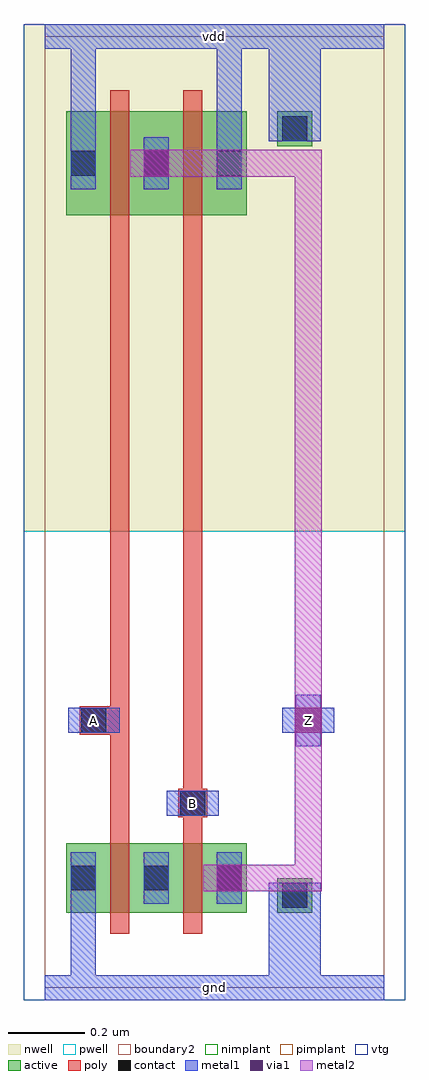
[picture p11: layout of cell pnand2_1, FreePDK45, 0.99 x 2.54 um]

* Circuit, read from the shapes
.subckt pnand2_1 A B Z gnd vdd
M1 nmos_m1_w0_180_a_p_2/D A gnd gnd nfet w=0.18u l=0.05u
M2 Z B nmos_m1_w0_180_a_p_2/D gnd nfet w=0.18u l=0.05u
M3 Z A vdd vdd pfet w=0.27u l=0.05u
M4 vdd B Z vdd pfet w=0.27u l=0.05u
.ends

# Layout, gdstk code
import gdstk
lib = gdstk.Library(unit=1e-6, precision=5e-10)
def R(c, l, rs):  # rectangles x0, y0, x1, y1
    for r in rs: c.add(gdstk.rectangle(r[:2], r[2:], *l))
active = (1, 0)
pwell = (2, 0)
nwell = (3, 0)
nimplant = (4, 0)
pimplant = (5, 0)
vtg = (6, 0)
poly = (9, 0)
contact = (10, 0)
metal1 = (11, 0)
via1 = (12, 0)
metal2 = (13, 0)
boundary2 = (239, 0)

contact_11 = lib.new_cell('contact_11')
R(contact_11, active, [(0,0.0225,0.09,0.1125)])
R(contact_11, nwell, [(-0.055,-0.0325,0.145,0.1675)])
R(contact_11, pimplant, [(0,0.0225,0.09,0.1125)])
R(contact_11, contact, [(0.0125,0.035,0.0775,0.1)])
R(contact_11, metal1, [(0.0125,0,0.0775,0.135)])

pmos_m1_w0_270_a_p = lib.new_cell('pmos_m1_w0_270_a_p')
R(pmos_m1_w0_270_a_p, active, [(0,0,0.28,0.27)])
R(pmos_m1_w0_270_a_p, nwell, [(-0.055,-0.055,0.335,0.325)])
R(pmos_m1_w0_270_a_p, pimplant, [(0,0,0.28,0.27)])
R(pmos_m1_w0_270_a_p, vtg, [(-0.055,-0.055,0.335,0.325)])
R(pmos_m1_w0_270_a_p, poly, [(0.115,-0.055,0.165,0.325), (0.115,-0.055,0.165,0.325)])
R(pmos_m1_w0_270_a_p, metal1, [(0.0125,0.0675,0.0775,0.2025), (0.2025,0.0675,0.2675,0.2025)])
R(pmos_m1_w0_270_a_p, boundary2, [(-0.055,-0.055,0.335,0.325)])
pmos_m1_w0_270_a_p.add(gdstk.Reference(contact_11, (0,0.0675)))
pmos_m1_w0_270_a_p.add(gdstk.Reference(contact_11, (0.19,0.0675)))
pmos_m1_w0_270_a_p.add(gdstk.Label('G', (0.14,0.135), layer=9, texttype=0))
pmos_m1_w0_270_a_p.add(gdstk.Label('S', (0.045,0.135), layer=11, texttype=0))
pmos_m1_w0_270_a_p.add(gdstk.Label('D', (0.235,0.135), layer=11, texttype=0))

contact_16 = lib.new_cell('contact_16')
R(contact_16, active, [(0,0.0225,0.09,0.1125)])
R(contact_16, pwell, [(-0.055,-0.0325,0.145,0.1675)])
R(contact_16, nimplant, [(0,0.0225,0.09,0.1125)])
R(contact_16, contact, [(0.0125,0.035,0.0775,0.1)])
R(contact_16, metal1, [(0.0125,0,0.0775,0.135)])

nmos_m1_w0_180_a_p = lib.new_cell('nmos_m1_w0_180_a_p')
R(nmos_m1_w0_180_a_p, active, [(0,0,0.28,0.18)])
R(nmos_m1_w0_180_a_p, pwell, [(-0.055,-0.055,0.335,0.235)])
R(nmos_m1_w0_180_a_p, nimplant, [(0,0,0.28,0.18)])
R(nmos_m1_w0_180_a_p, vtg, [(-0.055,-0.055,0.335,0.235)])
R(nmos_m1_w0_180_a_p, poly, [(0.115,-0.055,0.165,0.235), (0.115,-0.055,0.165,0.235)])
R(nmos_m1_w0_180_a_p, metal1, [(0.0125,0.0225,0.0775,0.1575), (0.2025,0.0225,0.2675,0.1575)])
R(nmos_m1_w0_180_a_p, boundary2, [(-0.055,-0.055,0.335,0.235)])
nmos_m1_w0_180_a_p.add(gdstk.Reference(contact_16, (0,0.0225)))
nmos_m1_w0_180_a_p.add(gdstk.Reference(contact_16, (0.19,0.0225)))
nmos_m1_w0_180_a_p.add(gdstk.Label('G', (0.14,0.09), layer=9, texttype=0))
nmos_m1_w0_180_a_p.add(gdstk.Label('S', (0.045,0.09), layer=11, texttype=0))
nmos_m1_w0_180_a_p.add(gdstk.Label('D', (0.235,0.09), layer=11, texttype=0))

contact_13 = lib.new_cell('contact_13')
R(contact_13, active, [(0.0225,0,0.1125,0.09)])
R(contact_13, nwell, [(-0.0325,-0.055,0.1675,0.145)])
R(contact_13, nimplant, [(0.0225,0,0.1125,0.09)])
R(contact_13, contact, [(0.035,0.0125,0.1,0.0775)])
R(contact_13, metal1, [(0,0.0125,0.135,0.0775)])

contact_17 = lib.new_cell('contact_17')
R(contact_17, active, [(0.0225,0,0.1125,0.09)])
R(contact_17, pwell, [(-0.0325,-0.055,0.1675,0.145)])
R(contact_17, pimplant, [(0.0225,0,0.1125,0.09)])
R(contact_17, contact, [(0.035,0.0125,0.1,0.0775)])
R(contact_17, metal1, [(0,0.0125,0.135,0.0775)])

contact_12 = lib.new_cell('contact_12')
R(contact_12, poly, [(0.03,0,0.105,0.075)])
R(contact_12, contact, [(0.035,0.005,0.1,0.07)])
R(contact_12, metal1, [(0,0.005,0.135,0.07)])

contact_20 = lib.new_cell('contact_20')
R(contact_20, metal1, [(0.035,0,0.1,0.135)])
R(contact_20, via1, [(0.035,0.035,0.1,0.1)])
R(contact_20, metal2, [(0,0.0325,0.135,0.1025)])

contact_19 = lib.new_cell('contact_19')
R(contact_19, metal1, [(0,0.035,0.135,0.1)])
R(contact_19, via1, [(0.035,0.035,0.1,0.1)])
R(contact_19, metal2, [(0.0325,0,0.1025,0.135)])

pnand2_1 = lib.new_cell('pnand2_1')
R(pnand2_1, pwell, [(-0.055,-0.0325,0.9375,1.1875)])
R(pnand2_1, nwell, [(-0.055,1.1875,0.9375,2.5075)])
R(pnand2_1, vtg, [(-0.055,-0.0325,0.9375,1.1875), (-0.055,1.1875,0.9375,2.5075)])
R(pnand2_1, poly, [(0.17,0.43,0.22,1.955), (0.36,0.43,0.41,1.955), (0.36,0.4425,0.385,0.5175), (0.1275,0.6575,0.17,0.7325)])
R(pnand2_1, metal1, [(0,-0.0325,0.8825,0.0325), (0.0675,-0.0325,0.1325,0.2175), (0.5825,0,0.7175,0.24), (0.3175,0.4475,0.4525,0.5125), (0.6525,0.6275,0.7175,0.7625), (0.06,0.6625,0.195,0.7275), (0.0675,2.0775,0.1325,2.5075), (0.4475,2.0775,0.5125,2.5075), (0.5825,2.235,0.7175,2.475), (0,2.4425,0.8825,2.5075)])
R(pnand2_1, metal2, [(0.48,0.25,0.685,0.32), (0.65,0.25,0.72,0.32), (0.65,0.285,0.72,0.695), (0.65,0.695,0.72,2.145), (0.29,2.11,0.685,2.18), (0.65,2.11,0.72,2.18)])
R(pnand2_1, boundary2, [(0,0,0.8825,2.475)])
pnand2_1.add(gdstk.Reference(pmos_m1_w0_270_a_p, (0.055,2.01)))
pnand2_1.add(gdstk.Reference(pmos_m1_w0_270_a_p, (0.245,2.01)))
pnand2_1.add(gdstk.Reference(nmos_m1_w0_180_a_p, (0.055,0.195)))
pnand2_1.add(gdstk.Reference(nmos_m1_w0_180_a_p, (0.245,0.195)))
pnand2_1.add(gdstk.Reference(contact_13, (0.5825,2.19)))
pnand2_1.add(gdstk.Reference(contact_17, (0.5825,0.195)))
pnand2_1.add(gdstk.Reference(contact_12, (0.3175,0.4425)))
pnand2_1.add(gdstk.Reference(contact_12, (0.06,0.6575)))
pnand2_1.add(gdstk.Reference(contact_20, (0.2225,2.0775)))
pnand2_1.add(gdstk.Reference(contact_20, (0.4125,0.2175)))
pnand2_1.add(gdstk.Reference(contact_19, (0.6175,0.6275)))
pnand2_1.add(gdstk.Label('gnd', (0.4415,0), layer=11, texttype=0))
pnand2_1.add(gdstk.Label('vdd', (0.4415,2.475), layer=11, texttype=0))
pnand2_1.add(gdstk.Label('B', (0.385,0.48), layer=11, texttype=0))
pnand2_1.add(gdstk.Label('A', (0.1275,0.695), layer=11, texttype=0))
pnand2_1.add(gdstk.Label('Z', (0.685,0.695), layer=11, texttype=0))

lib.write_gds('pnand2_1.gds')
